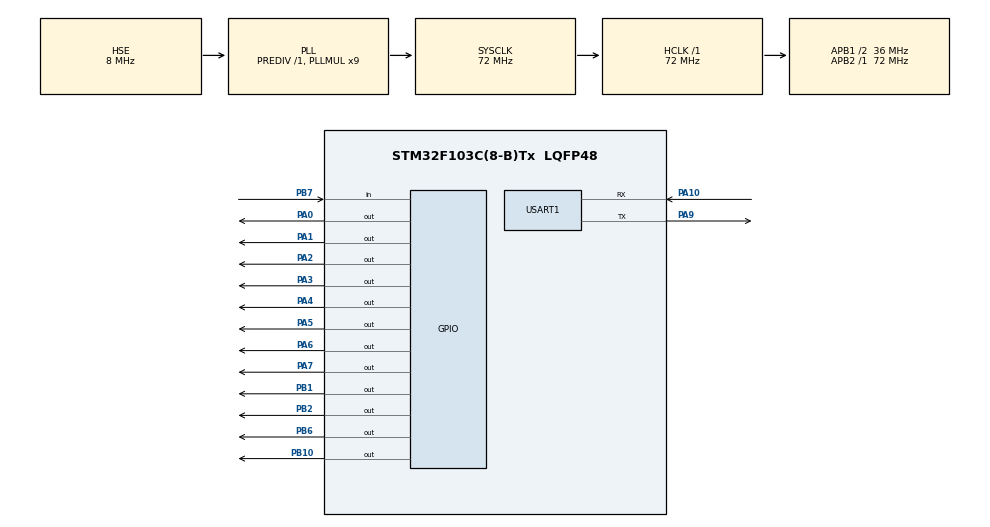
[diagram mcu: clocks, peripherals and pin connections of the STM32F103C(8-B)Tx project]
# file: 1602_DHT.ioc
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Mcu.Family=STM32F1
Mcu.Name=STM32F103C(8-B)Tx
Mcu.Package=LQFP48
NVIC.PriorityGroup=NVIC_PRIORITYGROUP_4
PA0-WKUP.Signal=GPIO_Output
PA1.Signal=GPIO_Output
PA10.Mode=Asynchronous
PA10.Signal=USART1_RX
PA13.Mode=Serial_Wire
PA13.Signal=SYS_JTMS-SWDIO
PA14.Mode=Serial_Wire
PA14.Signal=SYS_JTCK-SWCLK
PA2.Signal=GPIO_Output
PA3.Signal=GPIO_Output
PA4.Signal=GPIO_Output
PA5.Signal=GPIO_Output
PA6.Signal=GPIO_Output
PA7.Signal=GPIO_Output
PA9.Mode=Asynchronous
PA9.Signal=USART1_TX
PB1.Signal=GPIO_Output
PB10.Signal=GPIO_Output
PB2.Signal=GPIO_Output
PB6.PinState=GPIO_PIN_SET
PB6.Signal=GPIO_Output
PB7.Signal=GPIO_Input
PD0-OSC_IN.Mode=HSE-External-Oscillator
PD0-OSC_IN.Signal=RCC_OSC_IN
PD1-OSC_OUT.Mode=HSE-External-Oscillator
PD1-OSC_OUT.Signal=RCC_OSC_OUT
ProjectManager.HeapSize=0x200
ProjectManager.StackSize=0x400
ProjectManager.TargetToolchain=MDK-ARM V5.32
RCC.AHBFreq_Value=72000000
RCC.APB1CLKDivider=RCC_HCLK_DIV2
RCC.APB1Freq_Value=36000000
RCC.APB1TimFreq_Value=72000000
RCC.APB2Freq_Value=72000000
RCC.APB2TimFreq_Value=72000000
RCC.HCLKFreq_Value=72000000
RCC.PLLMUL=RCC_PLL_MUL9
RCC.PLLSourceVirtual=RCC_PLLSOURCE_HSE
RCC.SYSCLKFreq_VALUE=72000000
RCC.SYSCLKSource=RCC_SYSCLKSOURCE_PLLCLK
RCC.USBFreq_Value=72000000
USART1.VirtualMode=VM_ASYNC
board=custom

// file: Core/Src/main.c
/* USER CODE BEGIN Header */
/**
  ******************************************************************************
  * @file           : main.c
  * @brief          : Main program body
  ******************************************************************************
  * @attention
  *
  * Copyright (c) 2023 STMicroelectronics.
  * All rights reserved.
  *
  * This software is licensed under terms that can be found in the LICENSE file
  * in the root directory of this software component.
  * If no LICENSE file comes with this software, it is provided AS-IS.
  *
  ******************************************************************************
  */
/* USER CODE END Header */
#include "main.h"
#include "usart.h"
#include "gpio.h"

/* USER CODE BEGIN Includes */
#include "dht11.h"
#include "string.h"
#include "stdio.h"
#include "lcd_1602.h"
/* USER CODE END Includes */

void SystemClock_Config(void);

/* USER CODE BEGIN 0 */

int fputc(int ch, FILE *file) {
	unsigned char temp[1] = {ch};
	HAL_UART_Transmit(&huart1, temp, 1, 0xfff);
	return ch;
}

/* USER CODE END 0 */

int main(void)
{
  /* USER CODE BEGIN 1 */
	char msg[16];
  /* USER CODE END 1 */

  /* MCU Configuration--------------------------------------------------------*/

  /* Reset of all peripherals, Initializes the Flash interface and the Systick. */
  HAL_Init();

  /* Configure the system clock */
  SystemClock_Config();

  /* Initialize all configured peripherals */
  MX_GPIO_Init();
  MX_USART1_UART_Init();
  /* USER CODE BEGIN 2 */

	lcd_1602_init();
	show_line(0, 0, "loading...");
  /* USER CODE END 2 */

  /* Infinite loop */
  while (1)
  {

    /* USER CODE BEGIN 3 */

		if(datas[2] >= 24)
			HAL_GPIO_WritePin(GPIOB, GPIO_PIN_6, GPIO_PIN_RESET);
		else
			HAL_GPIO_WritePin(GPIOB, GPIO_PIN_6, GPIO_PIN_SET);

		trig_dht();
		receive_data();
		memset(msg, 0, sizeof(msg));
		sprintf(msg, "Temp: %d.%d", datas[2], datas[3]);
		show_line(0, 0, msg);
		sprintf(msg, "Temp: %d.%d\r\n", datas[2], datas[3]);
		printf(msg);
		sprintf(msg, "Humi: %d.%d", datas[0], datas[1]);
		show_line(1, 0, msg);
		sprintf(msg, "Humi: %d.%d\r\n", datas[0], datas[1]);
		printf(msg);
		HAL_Delay(1000);
  }
  /* USER CODE END 3 */
}

void SystemClock_Config(void)
{
  RCC_OscInitTypeDef RCC_OscInitStruct = {0};
  RCC_ClkInitTypeDef RCC_ClkInitStruct = {0};

  /** Initializes the RCC Oscillators according to the specified parameters
  * in the RCC_OscInitTypeDef structure.
  */
  RCC_OscInitStruct.OscillatorType = RCC_OSCILLATORTYPE_HSE;
  RCC_OscInitStruct.HSEState = RCC_HSE_ON;
  RCC_OscInitStruct.HSEPredivValue = RCC_HSE_PREDIV_DIV1;
  RCC_OscInitStruct.HSIState = RCC_HSI_ON;
  RCC_OscInitStruct.PLL.PLLState = RCC_PLL_ON;
  RCC_OscInitStruct.PLL.PLLSource = RCC_PLLSOURCE_HSE;
  RCC_OscInitStruct.PLL.PLLMUL = RCC_PLL_MUL9;
  if (HAL_RCC_OscConfig(&RCC_OscInitStruct) != HAL_OK)
  {
    Error_Handler();
  }

  /** Initializes the CPU, AHB and APB buses clocks
  */
  RCC_ClkInitStruct.ClockType = RCC_CLOCKTYPE_HCLK|RCC_CLOCKTYPE_SYSCLK
                              |RCC_CLOCKTYPE_PCLK1|RCC_CLOCKTYPE_PCLK2;
  RCC_ClkInitStruct.SYSCLKSource = RCC_SYSCLKSOURCE_PLLCLK;
  RCC_ClkInitStruct.AHBCLKDivider = RCC_SYSCLK_DIV1;
  RCC_ClkInitStruct.APB1CLKDivider = RCC_HCLK_DIV2;
  RCC_ClkInitStruct.APB2CLKDivider = RCC_HCLK_DIV1;

  if (HAL_RCC_ClockConfig(&RCC_ClkInitStruct, FLASH_LATENCY_2) != HAL_OK)
  {
    Error_Handler();
  }
}

void Error_Handler(void)
{
  __disable_irq();
  while (1)
  {
  }
}
